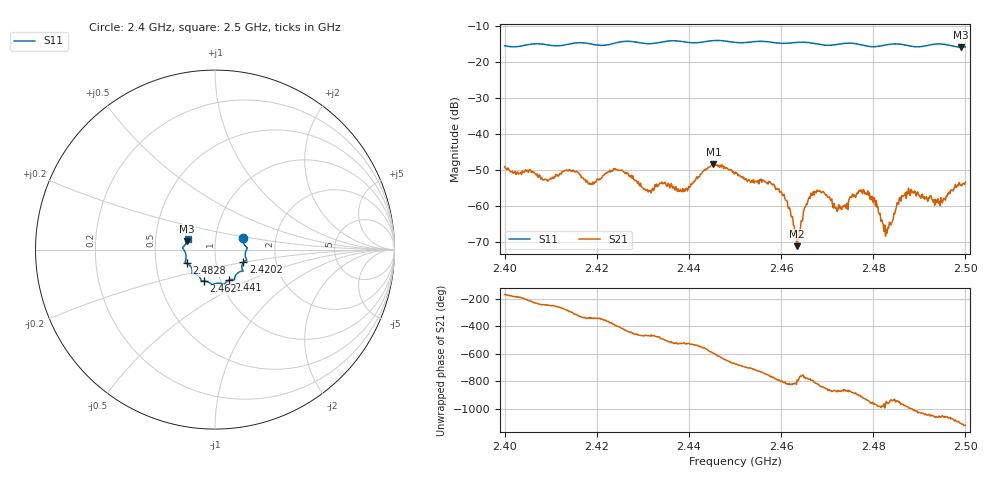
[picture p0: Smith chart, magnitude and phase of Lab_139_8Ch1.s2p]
# Hz S RI R 50
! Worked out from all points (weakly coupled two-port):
!   601 points, 2.4 GHz to 2.5 GHz, reference 50 ohm
!   highest |S21| = -48.41 dB at 2.4453 GHz (marker M1); lowest = -71.2 dB at 2.4635 GHz (marker M2)
!   lowest |S11| = -15.8 dB at 2.499 GHz (marker M3), VSWR 1.39, Z = 36.4 + j3.49 ohm
!   |S11| at or under -10 dB: start of sweep to end of sweep
!   S12 and S22 are empty: the file has one direction only
!   S11 on the Smith chart (normalised r, x): 2.4 GHz: 1.36, +0.18; 2.4202 GHz: 1.36, -0.20; 2.441 GHz: 1.10, -0.39; 2.462 GHz: 0.84, -0.30; 2.4828 GHz: 0.72, -0.11; 2.5 GHz: 0.73, +0.09
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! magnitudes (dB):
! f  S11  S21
! 2.4 GHz  -15.4  -49.0
! 2.4167 GHz  -14.5  -52.1
! 2.4202 GHz  -15.2  -52.5
! 2.4242 GHz  -14.6  -49.9
! 2.4307 GHz  -14.8  -55.7
! 2.4333 GHz  -14.5  -54.3
! 2.441 GHz  -14.6  -53.2
! 2.4453 GHz  -14.0  -48.4
! 2.45 GHz  -14.4  -50.9
! 2.458 GHz  -14.4  -53.9
! 2.462 GHz  -14.6  -61.2
! 2.4635 GHz  -14.4  -71.2
! 2.4667 GHz  -14.6  -57.1
! 2.4688 GHz  -15.1  -56.3
! 2.4727 GHz  -14.9  -59.9
! 2.4783 GHz  -15.4  -56.2
! 2.4828 GHz  -15.1  -66.5
! 2.4833 GHz  -15.0  -66.2
! 2.4872 GHz  -15.2  -57.9
! 2.4947 GHz  -14.9  -57.7
! 2.499 GHz  -15.8  -54.1
! 2.5 GHz  -15.7  -53.3
